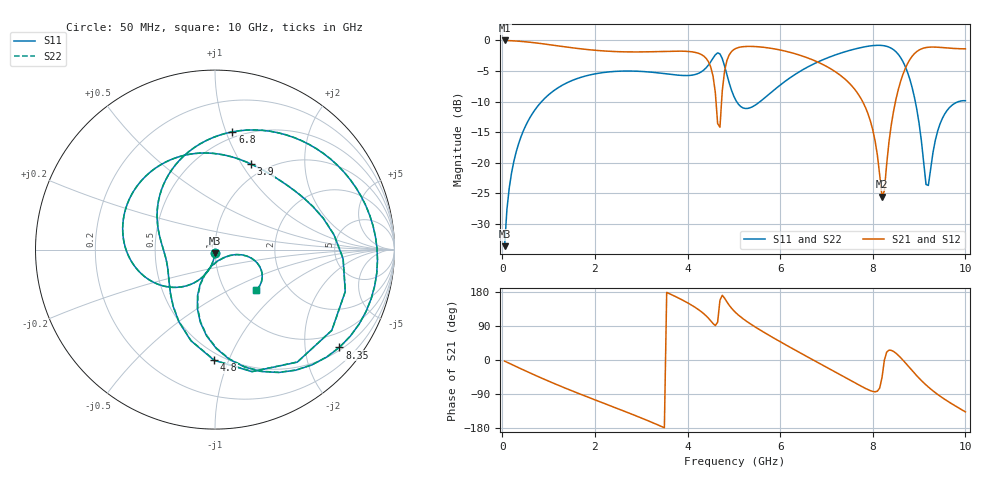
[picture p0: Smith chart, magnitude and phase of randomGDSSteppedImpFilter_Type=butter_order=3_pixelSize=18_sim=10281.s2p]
! freq	dB(S11)	phase(S11)	dB(S12)	phase(S12)
!  dB(S21)	phase(S21)	dB(S22)	phase(S22)
!S-par simulation data
#  GHz  S  DB  R 50
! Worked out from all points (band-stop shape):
!   200 points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, 50 MHz to 10 GHz, reference 50 ohm
!   highest |S21| = 0.00 dB at 50 MHz (marker M1); lowest = -25.5 dB at 8.2 GHz (marker M2)
!   |S21| within 3 dB of the highest: start of sweep to 4.409 GHz; 4.865 GHz to 6.646 GHz (1.781 GHz wide, 30.9 % of centre) (the widest 2 of 3)
!   lowest |S11| = -33.6 dB at 50 MHz (marker M3), VSWR 1.04, Z = 49.9 - j2.08 ohm
!   |S11| at or under -10 dB: start of sweep to 848.1 MHz; 5.061 GHz to 5.566 GHz (504.5 MHz wide, 9.5 % of centre); 8.918 GHz to 9.848 GHz (930.3 MHz wide, 9.91 % of centre)
!   |S22| runs from -33.6 to -0.8 dB; largest |S21 - S12| = 0
!   S11 on the Smith chart (normalised r, x): 50 MHz: 1.00, -0.04; 3.9 GHz: 0.84, +1.10; 4.8 GHz: 0.45, -0.89; 6.8 GHz: 0.45, +1.05; 8.35 GHz: 0.57, -2.79; 10 GHz: 1.39, -0.70
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0.05  -33.61 -92.9  -0.00 -2.9  -0.00 -2.9  -33.61 -92.9
0.2  -21.64 -101.9  -0.05 -11.6  -0.05 -11.6  -21.64 -101.9
0.5  -14.01 -119.2  -0.22 -28.7  -0.22 -28.7  -14.01 -119.2
1.75  -5.91 176.1  -1.42 -93.3  -1.42 -93.3  -5.91 176.2
3.4  -5.33 96.3  -1.81 -173.4  -1.81 -173.4  -5.33 96.3
3.9  -5.73 67.3  -1.76 157.6  -1.76 157.6  -5.73 67.4
4.4  -4.48 23.4  -2.91 116.7  -2.91 116.7  -4.48 23.6
4.6  -2.36 -17.9  -8.49 90.7  -8.49 90.7  -2.36 -17.7
4.7  -2.20 -53.9  -14.18 157.7  -14.18 157.7  -2.20 -53.7
4.8  -4.20 -90.4  -4.99 163.2  -4.99 163.2  -4.20 -90.2
5.05  -9.88 -142.5  -1.29 123.9  -1.29 123.9  -9.88 -142.4
5.65  -9.49 160.5  -1.13 73.1  -1.13 73.1  -9.49 160.4
6.2  -6.18 121.8  -1.91 34.6  -1.91 34.6  -6.18 121.8
6.7  -3.93 88.3  -3.17 0.9  -3.17 0.9  -3.93 88.3
6.8  -3.57 81.6  -3.49 -5.7  -3.49 -5.7  -3.57 81.7
7.8  -1.08 12.4  -10.27 -72.3  -10.27 -72.3  -1.08 12.5
8.2  -0.82 -22.3  -25.55 -46.0  -25.55 -46.0  -0.82 -22.1
8.35  -1.09 -38.2  -16.58 26.0  -16.58 26.0  -1.09 -38.0
8.8  -6.33 -95.6  -3.13 -20.9  -3.13 -20.9  -6.33 -95.3
9.15  -23.53 -81.1  -1.16 -65.9  -1.16 -65.9  -23.39 -80.6
9.5  -12.77 -15.4  -1.16 -99.4  -1.16 -99.4  -12.77 -15.4
10  -9.84 -44.6  -1.37 -136.8  -1.37 -136.8  -9.83 -44.3
